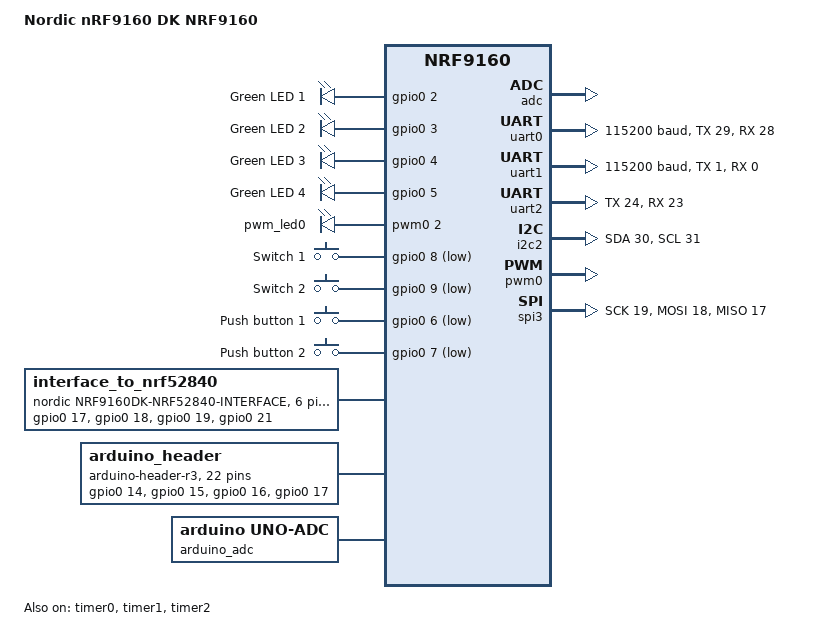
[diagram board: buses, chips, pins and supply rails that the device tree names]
/*
 * Copyright (c) 2018-2020 Nordic Semiconductor ASA
 *
 * SPDX-License-Identifier: Apache-2.0
 */

/ {
	model = "Nordic nRF9160 DK NRF9160";
	compatible = "nordic,nrf9160-dk-nrf9160";

	chosen {
		zephyr,console = &uart0;
		zephyr,shell-uart = &uart0;
		zephyr,uart-mcumgr = &uart0;
	};

	leds {
		compatible = "gpio-leds";
		led0: led_0 {
			gpios = <&gpio0 2 0>;
			label = "Green LED 1";
		};
		led1: led_1 {
			gpios = <&gpio0 3 0>;
			label = "Green LED 2";
		};
		led2: led_2 {
			gpios = <&gpio0 4 0>;
			label = "Green LED 3";
		};
		led3: led_3 {
			gpios = <&gpio0 5 0>;
			label = "Green LED 4";
		};
	};

	pwmleds {
		compatible = "pwm-leds";
		pwm_led0: pwm_led_0 {
			pwms = <&pwm0 2>;
		};
	};

	buttons {
		compatible = "gpio-keys";
		button0: button_0 {
			gpios = <&gpio0 8 (GPIO_PULL_UP | GPIO_ACTIVE_LOW)>;
			label = "Switch 1";
		};
		button1: button_1 {
			gpios = <&gpio0 9 (GPIO_PULL_UP | GPIO_ACTIVE_LOW)>;
			label = "Switch 2";
		};
		button2: button_2 {
			gpios = <&gpio0 6 (GPIO_PULL_UP | GPIO_ACTIVE_LOW)>;
			label = "Push button 1";
		};
		button3: button_3 {
			gpios = <&gpio0 7 (GPIO_PULL_UP | GPIO_ACTIVE_LOW)>;
			label = "Push button 2";
		};
	};

	interface_to_nrf52840: gpio-interface {
		compatible = "nordic,nrf9160dk-nrf52840-interface";
		#gpio-cells = <2>;
		gpio-map-mask = <0xf 0>;
		gpio-map-pass-thru = <0 0xffffffff>;
		gpio-map = <0 0 &gpio0 17 0>,
			   <1 0 &gpio0 18 0>,
			   <2 0 &gpio0 19 0>,
			   <3 0 &gpio0 21 0>,
			   <4 0 &gpio0 22 0>,
			   <5 0 &gpio0 23 0>;
			   /* 6: COEX0 */
			   /* 7: COEX1 */
			   /* 8: COEX2 */
	};

	nrf52840_reset: gpio-reset {
		compatible = "nordic,nrf9160dk-nrf52840-reset";
		status = "disabled";
		/*
		 * This line is specified as active high for compatibility
		 * with the previously used Kconfig-based configuration.
		 */
		gpios = <&interface_to_nrf52840 5 GPIO_ACTIVE_HIGH>;
	};

	arduino_header: connector {
		compatible = "arduino-header-r3";
		#gpio-cells = <2>;
		gpio-map-mask = <0xffffffff 0xffffffc0>;
		gpio-map-pass-thru = <0 0x3f>;
		gpio-map = <0 0 &gpio0 14 0>,	/* A0 */
			   <1 0 &gpio0 15 0>,	/* A1 */
			   <2 0 &gpio0 16 0>,	/* A2 */
			   <3 0 &gpio0 17 0>,	/* A3 */
			   <4 0 &gpio0 18 0>,	/* A4 */
			   <5 0 &gpio0 19 0>,	/* A5 */
			   <6 0 &gpio0 0 0>,	/* D0 */
			   <7 0 &gpio0 1 0>,	/* D1 */
			   <8 0 &gpio0 2 0>,	/* D2 */
			   <9 0 &gpio0 3 0>,	/* D3 */
			   <10 0 &gpio0 4 0>,	/* D4 */
			   <11 0 &gpio0 5 0>,	/* D5 */
			   <12 0 &gpio0 6 0>,	/* D6 */
			   <13 0 &gpio0 7 0>,	/* D7 */
			   <14 0 &gpio0 8 0>,	/* D8 */
			   <15 0 &gpio0 9 0>,	/* D9 */
			   <16 0 &gpio0 10 0>,	/* D10 */
			   <17 0 &gpio0 11 0>,	/* D11 */
			   <18 0 &gpio0 12 0>,	/* D12 */
			   <19 0 &gpio0 13 0>,	/* D13 */
			   <20 0 &gpio0 30 0>,	/* D14 */
			   <21 0 &gpio0 31 0>;	/* D15 */
	};

	arduino_adc: analog-connector {
		compatible = "arduino,uno-adc";
		#io-channel-cells = <1>;
		io-channel-map = <0 &adc 1>,	/* A0 = P0.14 = AIN1 */
				 <1 &adc 2>,	/* A1 = P0.15 = AIN2 */
				 <2 &adc 3>,	/* A2 = P0.16 = AIN3 */
				 <3 &adc 4>,	/* A3 = P0.17 = AIN4 */
				 <4 &adc 5>,	/* A4 = P0.18 = AIN5 */
				 <5 &adc 6>;	/* A5 = P0.19 = AIN6 */
	};

	/* These aliases are provided for compatibility with samples */
	aliases {
		led0 = &led0;
		led1 = &led1;
		led2 = &led2;
		led3 = &led3;
		pwm-led0 = &pwm_led0;
		sw0 = &button2;
		sw1 = &button3;
		sw2 = &button0;
		sw3 = &button1;
		bootloader-led0 = &led0;
	};
};

&adc {
	status = "okay";
};

&gpiote {
	status = "okay";
};

&gpio0 {
	status = "okay";
};

&uart0 {
	status = "okay";
	current-speed = <115200>;
	tx-pin = <29>;
	rx-pin = <28>;
	rts-pin = <27>;
	cts-pin = <26>;
};

arduino_serial: &uart1 {
	status = "okay";
	current-speed = <115200>;
	tx-pin = <1>;
	rx-pin = <0>;
	rts-pin = <14>;
	cts-pin = <15>;
};

&uart2 {
	tx-pin = <24>;
	rx-pin = <23>;
};

arduino_i2c: &i2c2 {
	compatible = "nordic,nrf-twim";
	status = "okay";
	sda-pin = <30>;
	scl-pin = <31>;
};

&pwm0 {
	status = "okay";
	ch0-pin = <2>;
};

&spi3 {
	compatible = "nordic,nrf-spim";
	status = "okay";
	sck-pin = <19>;
	mosi-pin = <18>;
	miso-pin = <17>;
};

&timer0 {
	status = "okay";
};

&timer1 {
	status = "okay";
};

&timer2 {
	status = "okay";
};

&flash0 {

	partitions {
		compatible = "fixed-partitions";
		#address-cells = <1>;
		#size-cells = <1>;

		boot_partition: partition@0 {
			label = "mcuboot";
			reg = <0x00000000 0x10000>;
		};
		slot0_partition: partition@10000 {
			label = "image-0";
		};
		slot0_ns_partition: partition@50000 {
			label = "image-0-nonsecure";
		};
		slot1_partition: partition@80000 {
			label = "image-1";
		};
		slot1_ns_partition: partition@c0000 {
			label = "image-1-nonsecure";
		};
		scratch_partition: partition@f0000 {
			label = "image-scratch";
			reg = <0x000f0000 0xa000>;
		};
		storage_partition: partition@fa000 {
			label = "storage";
			reg = <0x000fa000 0x00006000>;
		};
	};
};

/ {

	reserved-memory {
		#address-cells = <1>;
		#size-cells = <1>;
		ranges;

		sram0_s: image_s@20000000 {
			/* Secure image memory */
		};

		sram0_modem: image_modem@20016000 {
			/* Modem (shared) memory */
		};

		sram0_ns: image_ns@20020000 {
			/* Non-Secure image memory */
		};
	};
};

/* Include partition configuration file */
#include "nrf9160dk_nrf9160_partition_conf.dts"
